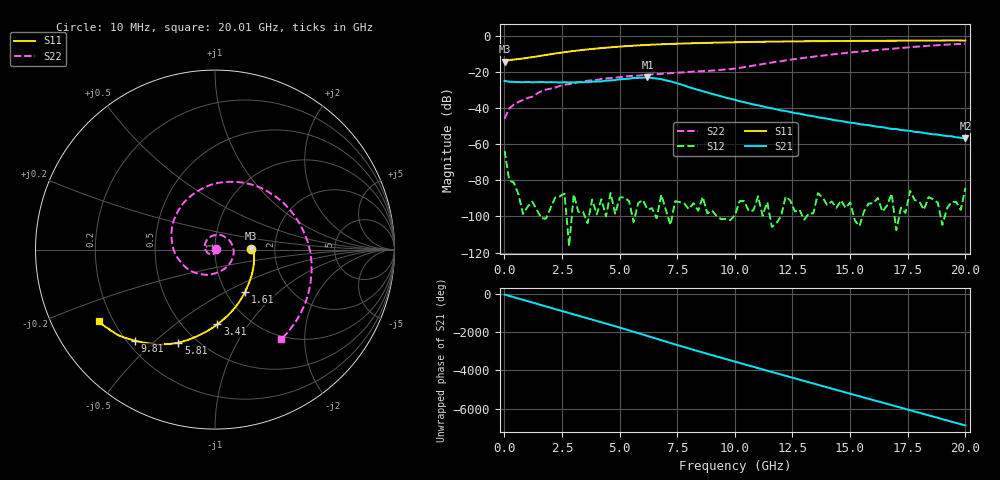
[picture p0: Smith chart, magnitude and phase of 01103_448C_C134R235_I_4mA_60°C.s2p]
!;Filter: kein Filter
!auto
!3/21/2019 9:25:24 AM
!3/21/2019 9:25:40 AM
!SP-Measurements Prober G4
!SP-Measurements Prober G4
!01103_448C
!134
!235
!12
!60
!-20
!0.00399976
!1.88
!0.54220246
!0.54220246
# Hz S  RI  R 50
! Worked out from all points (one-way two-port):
!   101 points, 10 MHz to 20.01 GHz, reference 50 ohm
!   highest |S21| = -22.89 dB at 6.21 GHz (marker M1); lowest = -56.7 dB at 20.01 GHz (marker M2)
!   lowest |S11| = -14.0 dB at 10 MHz (marker M3), VSWR 1.50, Z = 74.7 + j0.897 ohm
!   |S11| at or under -10 dB: start of sweep to 2.003 GHz
!   |S22| runs from -45.7 to -4.1 dB; largest |S21 - S12| = 0.072
!   S11 on the Smith chart (normalised r, x): 10 MHz: 1.49, +0.02; 1.61 GHz: 1.23, -0.63; 3.41 GHz: 0.72, -0.73; 5.81 GHz: 0.40, -0.60; 9.81 GHz: 0.23, -0.43; 20.01 GHz: 0.15, -0.28
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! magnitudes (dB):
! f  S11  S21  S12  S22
! 10 MHz  -14.0  -24.8  -63.6  -45.7
! 210 MHz  -13.2  -25.2  -79.9  -40.0
! 410 MHz  -13.0  -25.3  -81.2  -37.9
! 610 MHz  -12.7  -25.4  -87.6  -36.5
! 1.21 GHz  -11.6  -25.6  -91.7  -33.5
! 1.61 GHz  -10.8  -25.4  -101.1  -30.4
! 2.61 GHz  -8.9  -25.5  -87.2  -26.9
! 3.41 GHz  -7.6  -25.5  -97.3  -25.1
! 4.21 GHz  -6.6  -25.0  -90.5  -23.8
! 5.61 GHz  -5.2  -23.1  -103.2  -22.0
! 5.81 GHz  -5.1  -23.1  -92.6  -21.9
! 6.21 GHz  -4.8  -22.9  -96.0  -21.4
! 6.81 GHz  -4.5  -23.8  -87.9  -20.9
! 9.81 GHz  -3.4  -34.7  -102.1  -18.2
! 10.01 GHz  -3.3  -35.3  -99.2  -17.9
! 10.81 GHz  -3.2  -37.9  -96.7  -16.3
! 12.01 GHz  -2.9  -41.2  -99.8  -13.9
! 13.41 GHz  -2.8  -44.3  -98.3  -11.4
! 14.41 GHz  -2.7  -46.7  -95.3  -9.9
! 16.81 GHz  -2.5  -51.4  -87.4  -7.0
! 17.01 GHz  -2.5  -51.5  -107.6  -6.7
! 20.01 GHz  -2.4  -56.7  -84.2  -4.1
